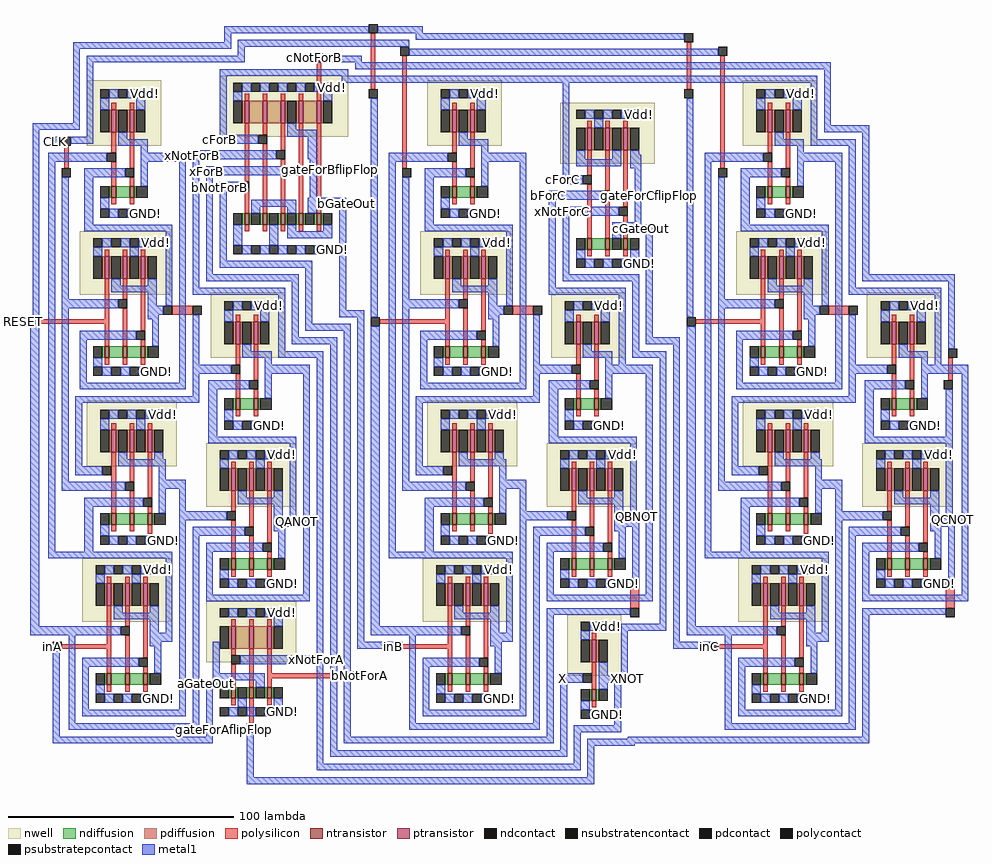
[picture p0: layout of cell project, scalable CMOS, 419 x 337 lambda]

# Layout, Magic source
magic
tech scmos
<< nwell >>
rect -221 247 -188 276
rect -162 251 -105 278
rect -70 247 -37 276
rect -11 239 31 266
rect 70 247 103 276
rect -224 181 -184 209
rect -166 153 -133 182
rect -73 181 -33 209
rect -13 181 18 182
rect 67 181 107 209
rect -15 153 18 181
rect 125 153 158 182
rect -221 105 -181 134
rect -168 87 -128 115
rect -70 105 -30 134
rect -17 87 23 115
rect 70 105 110 134
rect 123 87 163 115
rect -223 36 -183 64
rect -168 18 -128 45
rect -72 36 -32 64
rect -8 12 16 39
rect 68 36 108 64
<< ntransistor >>
rect -210 224 -208 229
rect -202 224 -200 229
rect -59 224 -57 229
rect -51 224 -49 229
rect -151 212 -149 217
rect -143 212 -141 217
rect -135 212 -133 217
rect -127 212 -125 217
rect -119 212 -117 217
rect 81 224 83 229
rect 89 224 91 229
rect 1 201 3 206
rect 9 201 11 206
rect 17 201 19 206
rect -213 153 -211 158
rect -205 153 -203 158
rect -197 153 -195 158
rect -62 153 -60 158
rect -54 153 -52 158
rect -46 153 -44 158
rect 78 153 80 158
rect 86 153 88 158
rect 94 153 96 158
rect -155 130 -153 135
rect -147 130 -145 135
rect -4 130 -2 135
rect 4 130 6 135
rect 136 130 138 135
rect 144 130 146 135
rect -210 79 -208 84
rect -202 79 -200 84
rect -194 79 -192 84
rect -59 79 -57 84
rect -51 79 -49 84
rect -43 79 -41 84
rect 81 79 83 84
rect 89 79 91 84
rect 97 79 99 84
rect -157 59 -155 64
rect -149 59 -147 64
rect -141 59 -139 64
rect -6 59 -4 64
rect 2 59 4 64
rect 10 59 12 64
rect 134 59 136 64
rect 142 59 144 64
rect 150 59 152 64
rect -212 8 -210 13
rect -204 8 -202 13
rect -196 8 -194 13
rect -61 8 -59 13
rect -53 8 -51 13
rect -45 8 -43 13
rect -157 2 -155 7
rect -149 2 -147 7
rect -141 2 -139 7
rect 79 8 81 13
rect 87 8 89 13
rect 95 8 97 13
rect 3 1 5 6
<< ptransistor >>
rect -210 253 -208 263
rect -202 253 -200 263
rect -151 257 -149 267
rect -143 257 -141 267
rect -135 257 -133 267
rect -127 257 -125 267
rect -119 257 -117 267
rect -59 253 -57 263
rect -51 253 -49 263
rect 1 245 3 255
rect 9 245 11 255
rect 17 245 19 255
rect 81 253 83 263
rect 89 253 91 263
rect -213 188 -211 198
rect -205 188 -203 198
rect -197 188 -195 198
rect -62 188 -60 198
rect -54 188 -52 198
rect -46 188 -44 198
rect 78 188 80 198
rect 86 188 88 198
rect 94 188 96 198
rect -155 159 -153 169
rect -147 159 -145 169
rect -4 159 -2 169
rect 4 159 6 169
rect 136 159 138 169
rect 144 159 146 169
rect -210 111 -208 121
rect -202 111 -200 121
rect -194 111 -192 121
rect -59 111 -57 121
rect -51 111 -49 121
rect -43 111 -41 121
rect -157 94 -155 104
rect -149 94 -147 104
rect -141 94 -139 104
rect 81 111 83 121
rect 89 111 91 121
rect 97 111 99 121
rect -6 94 -4 104
rect 2 94 4 104
rect 10 94 12 104
rect 134 94 136 104
rect 142 94 144 104
rect 150 94 152 104
rect -212 43 -210 53
rect -204 43 -202 53
rect -196 43 -194 53
rect -61 43 -59 53
rect -53 43 -51 53
rect -45 43 -43 53
rect -157 24 -155 34
rect -149 24 -147 34
rect -141 24 -139 34
rect 79 43 81 53
rect 87 43 89 53
rect 95 43 97 53
rect 3 18 5 28
<< ndiffusion >>
rect -211 224 -210 229
rect -208 224 -202 229
rect -200 224 -199 229
rect -60 224 -59 229
rect -57 224 -51 229
rect -49 224 -48 229
rect -152 212 -151 217
rect -149 212 -148 217
rect -144 212 -143 217
rect -141 212 -140 217
rect -136 212 -135 217
rect -133 212 -132 217
rect -128 212 -127 217
rect -125 212 -124 217
rect -120 212 -119 217
rect -117 212 -116 217
rect 80 224 81 229
rect 83 224 89 229
rect 91 224 92 229
rect 0 201 1 206
rect 3 201 9 206
rect 11 201 12 206
rect 16 201 17 206
rect 19 201 20 206
rect -214 153 -213 158
rect -211 153 -205 158
rect -203 153 -197 158
rect -195 153 -194 158
rect -63 153 -62 158
rect -60 153 -54 158
rect -52 153 -46 158
rect -44 153 -43 158
rect 77 153 78 158
rect 80 153 86 158
rect 88 153 94 158
rect 96 153 97 158
rect -156 130 -155 135
rect -153 130 -147 135
rect -145 130 -144 135
rect -5 130 -4 135
rect -2 130 4 135
rect 6 130 7 135
rect 135 130 136 135
rect 138 130 144 135
rect 146 130 147 135
rect -211 79 -210 84
rect -208 79 -202 84
rect -200 79 -194 84
rect -192 79 -191 84
rect -60 79 -59 84
rect -57 79 -51 84
rect -49 79 -43 84
rect -41 79 -40 84
rect 80 79 81 84
rect 83 79 89 84
rect 91 79 97 84
rect 99 79 100 84
rect -158 59 -157 64
rect -155 59 -149 64
rect -147 59 -141 64
rect -139 59 -138 64
rect -7 59 -6 64
rect -4 59 2 64
rect 4 59 10 64
rect 12 59 13 64
rect 133 59 134 64
rect 136 59 142 64
rect 144 59 150 64
rect 152 59 153 64
rect -213 8 -212 13
rect -210 8 -204 13
rect -202 8 -196 13
rect -194 8 -193 13
rect -62 8 -61 13
rect -59 8 -53 13
rect -51 8 -45 13
rect -43 8 -42 13
rect -158 2 -157 7
rect -155 2 -154 7
rect -150 2 -149 7
rect -147 2 -146 7
rect -142 2 -141 7
rect -139 2 -138 7
rect 78 8 79 13
rect 81 8 87 13
rect 89 8 95 13
rect 97 8 98 13
rect 2 1 3 6
rect 5 1 6 6
<< pdiffusion >>
rect -211 253 -210 263
rect -208 253 -207 263
rect -203 253 -202 263
rect -200 253 -199 263
rect -152 257 -151 267
rect -149 257 -143 267
rect -141 257 -135 267
rect -133 257 -132 267
rect -128 257 -127 267
rect -125 257 -119 267
rect -117 257 -116 267
rect -60 253 -59 263
rect -57 253 -56 263
rect -52 253 -51 263
rect -49 253 -48 263
rect 0 245 1 255
rect 3 245 4 255
rect 8 245 9 255
rect 11 245 12 255
rect 16 245 17 255
rect 19 245 20 255
rect 80 253 81 263
rect 83 253 84 263
rect 88 253 89 263
rect 91 253 92 263
rect -214 188 -213 198
rect -211 188 -210 198
rect -206 188 -205 198
rect -203 188 -202 198
rect -198 188 -197 198
rect -195 188 -194 198
rect -63 188 -62 198
rect -60 188 -59 198
rect -55 188 -54 198
rect -52 188 -51 198
rect -47 188 -46 198
rect -44 188 -43 198
rect 77 188 78 198
rect 80 188 81 198
rect 85 188 86 198
rect 88 188 89 198
rect 93 188 94 198
rect 96 188 97 198
rect -156 159 -155 169
rect -153 159 -152 169
rect -148 159 -147 169
rect -145 159 -144 169
rect -5 159 -4 169
rect -2 159 -1 169
rect 3 159 4 169
rect 6 159 7 169
rect 135 159 136 169
rect 138 159 139 169
rect 143 159 144 169
rect 146 159 147 169
rect -211 111 -210 121
rect -208 111 -207 121
rect -203 111 -202 121
rect -200 111 -199 121
rect -195 111 -194 121
rect -192 111 -191 121
rect -60 111 -59 121
rect -57 111 -56 121
rect -52 111 -51 121
rect -49 111 -48 121
rect -44 111 -43 121
rect -41 111 -40 121
rect -158 94 -157 104
rect -155 94 -154 104
rect -150 94 -149 104
rect -147 94 -146 104
rect -142 94 -141 104
rect -139 94 -138 104
rect 80 111 81 121
rect 83 111 84 121
rect 88 111 89 121
rect 91 111 92 121
rect 96 111 97 121
rect 99 111 100 121
rect -7 94 -6 104
rect -4 94 -3 104
rect 1 94 2 104
rect 4 94 5 104
rect 9 94 10 104
rect 12 94 13 104
rect 133 94 134 104
rect 136 94 137 104
rect 141 94 142 104
rect 144 94 145 104
rect 149 94 150 104
rect 152 94 153 104
rect -213 43 -212 53
rect -210 43 -209 53
rect -205 43 -204 53
rect -202 43 -201 53
rect -197 43 -196 53
rect -194 43 -193 53
rect -62 43 -61 53
rect -59 43 -58 53
rect -54 43 -53 53
rect -51 43 -50 53
rect -46 43 -45 53
rect -43 43 -42 53
rect -158 24 -157 34
rect -155 24 -149 34
rect -147 24 -141 34
rect -139 24 -138 34
rect 78 43 79 53
rect 81 43 82 53
rect 86 43 87 53
rect 89 43 90 53
rect 94 43 95 53
rect 97 43 98 53
rect 2 18 3 28
rect 5 18 6 28
<< ndcontact >>
rect -215 224 -211 229
rect -199 224 -194 229
rect -64 224 -60 229
rect -48 224 -43 229
rect -156 212 -152 217
rect -148 212 -144 217
rect -140 212 -136 217
rect -132 212 -128 217
rect -124 212 -120 217
rect -116 212 -112 217
rect 76 224 80 229
rect 92 224 97 229
rect -4 201 0 206
rect 12 201 16 206
rect 20 201 24 206
rect -218 153 -214 158
rect -194 153 -189 158
rect -67 153 -63 158
rect -43 153 -38 158
rect 73 153 77 158
rect 97 153 102 158
rect -160 130 -156 135
rect -144 130 -139 135
rect -9 130 -5 135
rect 7 130 12 135
rect 131 130 135 135
rect 147 130 152 135
rect -215 79 -211 84
rect -191 79 -186 84
rect -64 79 -60 84
rect -40 79 -35 84
rect 76 79 80 84
rect 100 79 105 84
rect -162 59 -158 64
rect -138 59 -133 64
rect -11 59 -7 64
rect 13 59 18 64
rect 129 59 133 64
rect 153 59 158 64
rect -217 8 -213 13
rect -193 8 -188 13
rect -66 8 -62 13
rect -42 8 -37 13
rect -162 2 -158 7
rect -154 2 -150 7
rect -146 2 -142 7
rect -138 2 -134 7
rect 74 8 78 13
rect 98 8 103 13
rect -2 1 2 6
rect 6 1 10 6
<< pdcontact >>
rect -215 253 -211 263
rect -207 253 -203 263
rect -199 253 -195 263
rect -156 257 -152 267
rect -132 257 -128 267
rect -116 257 -112 267
rect -64 253 -60 263
rect -56 253 -52 263
rect -48 253 -44 263
rect -4 245 0 255
rect 4 245 8 255
rect 12 245 16 255
rect 20 245 24 255
rect 76 253 80 263
rect 84 253 88 263
rect 92 253 96 263
rect -218 188 -214 198
rect -210 188 -206 198
rect -202 188 -198 198
rect -194 188 -190 198
rect -67 188 -63 198
rect -59 188 -55 198
rect -51 188 -47 198
rect -43 188 -39 198
rect 73 188 77 198
rect 81 188 85 198
rect 89 188 93 198
rect 97 188 101 198
rect -160 159 -156 169
rect -152 159 -148 169
rect -144 159 -140 169
rect -9 159 -5 169
rect -1 159 3 169
rect 7 159 11 169
rect 131 159 135 169
rect 139 159 143 169
rect 147 159 151 169
rect -215 111 -211 121
rect -207 111 -203 121
rect -199 111 -195 121
rect -191 111 -187 121
rect -64 111 -60 121
rect -56 111 -52 121
rect -48 111 -44 121
rect -40 111 -36 121
rect -162 94 -158 104
rect -154 94 -150 104
rect -146 94 -142 104
rect -138 94 -134 104
rect 76 111 80 121
rect 84 111 88 121
rect 92 111 96 121
rect 100 111 104 121
rect -11 94 -7 104
rect -3 94 1 104
rect 5 94 9 104
rect 13 94 17 104
rect 129 94 133 104
rect 137 94 141 104
rect 145 94 149 104
rect 153 94 157 104
rect -217 43 -213 53
rect -209 43 -205 53
rect -201 43 -197 53
rect -193 43 -189 53
rect -66 43 -62 53
rect -58 43 -54 53
rect -50 43 -46 53
rect -42 43 -38 53
rect -162 24 -158 34
rect -138 24 -134 34
rect 74 43 78 53
rect 82 43 86 53
rect 90 43 94 53
rect 98 43 102 53
rect -2 18 2 28
rect 6 18 10 28
<< psubstratepcontact >>
rect -215 215 -211 219
rect -207 215 -203 219
rect -199 215 -195 219
rect -64 215 -60 219
rect -56 215 -52 219
rect -48 215 -44 219
rect 76 215 80 219
rect 84 215 88 219
rect 92 215 96 219
rect -4 193 0 197
rect 4 193 8 197
rect 12 193 16 197
rect 20 193 24 197
rect -218 145 -214 149
rect -210 145 -206 149
rect -202 145 -198 149
rect -194 145 -190 149
rect -67 145 -63 149
rect -59 145 -55 149
rect -51 145 -47 149
rect -43 145 -39 149
rect 73 145 77 149
rect 81 145 85 149
rect 89 145 93 149
rect 97 145 101 149
rect -160 121 -156 125
rect -152 121 -148 125
rect -144 121 -140 125
rect -9 121 -5 125
rect -1 121 3 125
rect 7 121 11 125
rect 131 121 135 125
rect 139 121 143 125
rect 147 121 151 125
rect -215 70 -211 74
rect -207 70 -203 74
rect -199 70 -195 74
rect -191 70 -187 74
rect -64 70 -60 74
rect -56 70 -52 74
rect -48 70 -44 74
rect -40 70 -36 74
rect 76 70 80 74
rect 84 70 88 74
rect 92 70 96 74
rect 100 70 104 74
rect -162 51 -158 55
rect -154 51 -150 55
rect -146 51 -142 55
rect -138 51 -134 55
rect -11 51 -7 55
rect -3 51 1 55
rect 5 51 9 55
rect 13 51 17 55
rect 129 51 133 55
rect 137 51 141 55
rect 145 51 149 55
rect 153 51 157 55
rect -217 0 -213 4
rect -209 0 -205 4
rect -201 0 -197 4
rect -193 0 -189 4
rect -162 -6 -158 -2
rect -154 -6 -150 -2
rect -66 0 -62 4
rect -58 0 -54 4
rect -50 0 -46 4
rect -42 0 -38 4
rect 74 0 78 4
rect 82 0 86 4
rect 90 0 94 4
rect 98 0 102 4
rect -146 -6 -142 -2
rect -138 -6 -134 -2
rect -2 -7 2 -3
rect 6 -7 10 -3
<< nsubstratencontact >>
rect -215 268 -211 272
rect -207 268 -203 272
rect -199 268 -195 272
rect -156 271 -152 275
rect -148 271 -144 275
rect -140 271 -136 275
rect -132 271 -128 275
rect -124 271 -120 275
rect -116 271 -112 275
rect -64 268 -60 272
rect -56 268 -52 272
rect -48 268 -44 272
rect -4 259 0 263
rect 4 259 8 263
rect 12 259 16 263
rect 20 259 24 263
rect 76 268 80 272
rect 84 268 88 272
rect 92 268 96 272
rect -218 202 -214 206
rect -210 202 -206 206
rect -202 202 -198 206
rect -194 202 -190 206
rect -156 199 -152 203
rect -148 199 -144 203
rect -140 199 -136 203
rect -132 199 -128 203
rect -124 199 -120 203
rect -116 199 -112 203
rect -67 202 -63 206
rect -59 202 -55 206
rect -51 202 -47 206
rect -43 202 -39 206
rect 73 202 77 206
rect 81 202 85 206
rect 89 202 93 206
rect 97 202 101 206
rect -160 174 -156 178
rect -152 174 -148 178
rect -144 174 -140 178
rect -9 174 -5 178
rect -1 174 3 178
rect 7 174 11 178
rect 131 174 135 178
rect 139 174 143 178
rect 147 174 151 178
rect -215 126 -211 130
rect -207 126 -203 130
rect -199 126 -195 130
rect -191 126 -187 130
rect -64 126 -60 130
rect -56 126 -52 130
rect -48 126 -44 130
rect -40 126 -36 130
rect 76 126 80 130
rect 84 126 88 130
rect 92 126 96 130
rect 100 126 104 130
rect -162 108 -158 112
rect -154 108 -150 112
rect -146 108 -142 112
rect -138 108 -134 112
rect -11 108 -7 112
rect -3 108 1 112
rect 5 108 9 112
rect 13 108 17 112
rect 129 108 133 112
rect 137 108 141 112
rect 145 108 149 112
rect 153 108 157 112
rect -217 57 -213 61
rect -209 57 -205 61
rect -201 57 -197 61
rect -193 57 -189 61
rect -66 57 -62 61
rect -58 57 -54 61
rect -50 57 -46 61
rect -42 57 -38 61
rect 74 57 78 61
rect 82 57 86 61
rect 90 57 94 61
rect 98 57 102 61
rect -162 38 -158 42
rect -154 38 -150 42
rect -146 38 -142 42
rect -138 38 -134 42
rect -2 32 2 36
rect 6 32 10 36
<< polysilicon >>
rect -151 267 -149 270
rect -143 267 -141 270
rect -135 267 -133 270
rect -127 267 -125 270
rect -119 267 -117 284
rect -95 272 -93 297
rect -210 263 -208 266
rect -202 263 -200 266
rect -231 237 -229 247
rect -210 244 -208 253
rect -210 229 -208 240
rect -202 237 -200 253
rect -202 229 -200 233
rect -151 231 -149 257
rect -143 252 -141 257
rect -210 221 -208 224
rect -202 221 -200 224
rect -151 217 -149 227
rect -143 217 -141 248
rect -135 245 -133 257
rect -135 217 -133 241
rect -127 238 -125 257
rect -127 217 -125 234
rect -119 217 -117 257
rect -81 237 -79 287
rect 45 272 47 293
rect -59 263 -57 266
rect -51 263 -49 266
rect 1 255 3 258
rect 9 255 11 258
rect 17 255 19 258
rect -59 244 -57 253
rect -59 229 -57 240
rect -51 237 -49 253
rect 1 234 3 245
rect -51 229 -49 233
rect -59 221 -57 224
rect -51 221 -49 224
rect -151 209 -149 212
rect -143 209 -141 212
rect -135 209 -133 212
rect -127 209 -125 212
rect -119 209 -117 212
rect 1 206 3 230
rect 9 227 11 245
rect 9 206 11 223
rect 17 220 19 245
rect 60 237 62 287
rect 81 263 83 266
rect 89 263 91 266
rect 81 244 83 253
rect 81 229 83 240
rect 89 237 91 253
rect 89 229 91 233
rect 81 221 83 224
rect 89 221 91 224
rect 17 206 19 216
rect -213 198 -211 201
rect -205 198 -203 201
rect -197 198 -195 201
rect -62 198 -60 201
rect -54 198 -52 201
rect -46 198 -44 201
rect 1 198 3 201
rect 9 198 11 201
rect 17 198 19 201
rect 78 198 80 201
rect 86 198 88 201
rect 94 198 96 201
rect -213 170 -211 188
rect -205 179 -203 188
rect -242 168 -211 170
rect -213 158 -211 168
rect -205 158 -203 175
rect -197 165 -195 188
rect -183 172 -174 176
rect -155 169 -153 172
rect -147 169 -145 172
rect -197 158 -195 161
rect -62 170 -60 188
rect -54 179 -52 188
rect -91 168 -60 170
rect -213 150 -211 153
rect -205 150 -203 153
rect -197 150 -195 153
rect -155 150 -153 159
rect -155 135 -153 146
rect -147 143 -145 159
rect -62 158 -60 168
rect -54 158 -52 175
rect -46 165 -44 188
rect -32 172 -23 176
rect -4 169 -2 172
rect 4 169 6 172
rect -46 158 -44 161
rect 78 170 80 188
rect 86 179 88 188
rect 49 168 80 170
rect -62 150 -60 153
rect -54 150 -52 153
rect -46 150 -44 153
rect -4 150 -2 159
rect -147 135 -145 139
rect -4 135 -2 146
rect 4 143 6 159
rect 78 158 80 168
rect 86 158 88 175
rect 94 165 96 188
rect 108 172 117 176
rect 136 169 138 172
rect 144 169 146 172
rect 94 158 96 161
rect 78 150 80 153
rect 86 150 88 153
rect 94 150 96 153
rect 136 150 138 159
rect 4 135 6 139
rect 136 135 138 146
rect 144 143 146 159
rect 161 143 163 153
rect 144 135 146 139
rect -155 127 -153 130
rect -147 127 -145 130
rect -4 127 -2 130
rect 4 127 6 130
rect 136 127 138 130
rect 144 127 146 130
rect -210 121 -208 124
rect -202 121 -200 124
rect -194 121 -192 124
rect -59 121 -57 124
rect -51 121 -49 124
rect -43 121 -41 124
rect 81 121 83 124
rect 89 121 91 124
rect 97 121 99 124
rect -210 84 -208 111
rect -202 98 -200 111
rect -202 84 -200 94
rect -194 91 -192 111
rect -157 104 -155 107
rect -149 104 -147 107
rect -141 104 -139 107
rect -194 84 -192 87
rect -157 85 -155 94
rect -210 76 -208 79
rect -202 76 -200 79
rect -194 75 -192 79
rect -157 64 -155 81
rect -149 78 -147 94
rect -149 64 -147 74
rect -141 71 -139 94
rect -59 84 -57 111
rect -51 98 -49 111
rect -51 84 -49 94
rect -43 91 -41 111
rect -6 104 -4 107
rect 2 104 4 107
rect 10 104 12 107
rect -43 84 -41 87
rect -6 85 -4 94
rect -59 76 -57 79
rect -51 76 -49 79
rect -43 75 -41 79
rect -141 64 -139 67
rect -6 64 -4 81
rect 2 78 4 94
rect 2 64 4 74
rect 10 71 12 94
rect 81 84 83 111
rect 89 98 91 111
rect 89 84 91 94
rect 97 91 99 111
rect 134 104 136 107
rect 142 104 144 107
rect 150 104 152 107
rect 97 84 99 87
rect 134 85 136 94
rect 81 76 83 79
rect 89 76 91 79
rect 97 75 99 79
rect 10 64 12 67
rect 134 64 136 81
rect 142 78 144 94
rect 142 64 144 74
rect 150 71 152 94
rect 150 64 152 67
rect -157 56 -155 59
rect -149 56 -147 59
rect -141 56 -139 59
rect -6 56 -4 59
rect 2 56 4 59
rect 10 56 12 59
rect 134 56 136 59
rect 142 56 144 59
rect 150 56 152 59
rect -212 53 -210 56
rect -204 53 -202 56
rect -196 53 -194 56
rect -61 53 -59 56
rect -53 53 -51 56
rect -45 53 -43 56
rect 79 53 81 56
rect 87 53 89 56
rect 95 53 97 56
rect -212 26 -210 43
rect -204 34 -202 43
rect -232 24 -210 26
rect -212 13 -210 24
rect -204 13 -202 30
rect -196 20 -194 43
rect -157 34 -155 37
rect -149 34 -147 37
rect -141 34 -139 37
rect -196 13 -194 16
rect -157 21 -155 24
rect -212 5 -210 8
rect -204 5 -202 8
rect -196 5 -194 8
rect -157 7 -155 17
rect -149 7 -147 24
rect -141 13 -139 24
rect -61 26 -59 43
rect -53 34 -51 43
rect -81 24 -59 26
rect -141 11 -104 13
rect -141 7 -139 11
rect -61 13 -59 24
rect -53 13 -51 30
rect -45 20 -43 43
rect 20 42 24 51
rect 3 28 5 31
rect 79 26 81 43
rect 87 34 89 43
rect 59 24 81 26
rect -45 13 -43 16
rect -61 5 -59 8
rect -53 5 -51 8
rect -45 5 -43 8
rect 3 6 5 18
rect 79 13 81 24
rect 87 13 89 30
rect 95 20 97 43
rect 160 42 164 51
rect 95 13 97 16
rect -157 -1 -155 2
rect -149 -9 -147 2
rect -141 -1 -139 2
rect 79 5 81 8
rect 87 5 89 8
rect 95 5 97 8
rect 3 -2 5 1
<< polycontact >>
rect -96 297 -92 301
rect -120 284 -116 288
rect 44 293 48 297
rect -82 287 -78 291
rect -96 268 -92 272
rect -232 247 -228 251
rect -212 240 -208 244
rect -232 233 -228 237
rect -204 233 -200 237
rect -145 248 -141 252
rect -153 227 -149 231
rect -137 241 -133 245
rect -129 234 -125 238
rect 59 287 63 291
rect 44 268 48 272
rect -61 240 -57 244
rect -81 233 -77 237
rect -53 233 -49 237
rect -1 230 3 234
rect 7 223 11 227
rect 79 240 83 244
rect 59 233 63 237
rect 87 233 91 237
rect 15 216 19 220
rect -246 167 -242 171
rect -207 175 -203 179
rect -187 172 -183 176
rect -174 172 -170 176
rect -199 161 -195 165
rect -95 167 -91 171
rect -56 175 -52 179
rect -157 146 -153 150
rect -36 172 -32 176
rect -23 172 -19 176
rect -48 161 -44 165
rect 45 167 49 171
rect 84 175 88 179
rect -6 146 -2 150
rect -149 139 -145 143
rect 104 172 108 176
rect 117 172 121 176
rect 92 161 96 165
rect 134 146 138 150
rect 2 139 6 143
rect 161 153 165 157
rect 142 139 146 143
rect 159 139 163 143
rect -214 101 -210 105
rect -204 94 -200 98
rect -63 101 -59 105
rect -196 87 -192 91
rect -159 81 -155 85
rect -151 74 -147 78
rect -53 94 -49 98
rect 77 101 81 105
rect -45 87 -41 91
rect -8 81 -4 85
rect -143 67 -139 71
rect 0 74 4 78
rect 87 94 91 98
rect 95 87 99 91
rect 132 81 136 85
rect 8 67 12 71
rect 140 74 144 78
rect 148 67 152 71
rect 20 51 24 55
rect -236 23 -232 27
rect -206 30 -202 34
rect -198 16 -194 20
rect -157 17 -153 21
rect -85 23 -81 27
rect -55 30 -51 34
rect -104 10 -100 14
rect 160 51 164 55
rect 20 38 24 42
rect -47 16 -43 20
rect 55 23 59 27
rect 85 30 89 34
rect -1 9 3 13
rect 160 38 164 42
rect 93 16 97 20
rect -150 -13 -146 -9
<< metal1 >>
rect -160 297 -96 300
rect -92 297 -72 300
rect -160 293 -157 297
rect -75 294 44 297
rect -227 290 -157 293
rect -154 291 -78 294
rect -227 257 -224 290
rect -154 287 -151 291
rect -245 254 -224 257
rect -221 284 -151 287
rect -78 287 59 290
rect -116 284 -99 287
rect -245 171 -242 254
rect -221 251 -218 284
rect -102 281 109 284
rect -162 278 -105 281
rect -211 268 -207 272
rect -203 268 -199 272
rect -215 263 -211 268
rect -199 263 -195 268
rect -235 247 -232 251
rect -228 248 -218 251
rect -207 250 -203 253
rect -162 252 -159 278
rect -108 275 103 278
rect -152 271 -148 275
rect -144 271 -140 275
rect -136 271 -132 275
rect -128 271 -124 275
rect -120 271 -116 275
rect -156 267 -152 271
rect -116 267 -112 271
rect -132 254 -128 257
rect -207 247 -194 250
rect -162 248 -145 252
rect -132 251 -119 254
rect -197 244 -194 247
rect -249 167 -246 171
rect -246 34 -242 167
rect -238 240 -212 244
rect -197 240 -177 244
rect -238 67 -235 240
rect -222 233 -204 237
rect -232 179 -229 233
rect -222 212 -218 233
rect -197 229 -194 240
rect -215 219 -211 224
rect -211 215 -207 219
rect -203 215 -199 219
rect -222 209 -183 212
rect -214 202 -210 206
rect -206 202 -202 206
rect -198 202 -194 206
rect -218 198 -214 202
rect -202 198 -198 202
rect -210 185 -206 188
rect -194 185 -190 188
rect -210 182 -190 185
rect -232 175 -207 179
rect -194 176 -190 182
rect -186 176 -183 209
rect -232 98 -229 175
rect -194 172 -187 176
rect -194 170 -189 172
rect -224 161 -199 165
rect -224 142 -221 161
rect -192 158 -189 170
rect -218 149 -214 153
rect -214 145 -210 149
rect -206 145 -202 149
rect -198 145 -194 149
rect -180 142 -177 240
rect -174 241 -137 245
rect -123 241 -119 251
rect -174 184 -171 241
rect -168 234 -129 238
rect -168 190 -165 234
rect -162 227 -153 231
rect -162 196 -159 227
rect -122 224 -119 241
rect -148 220 -128 223
rect -148 217 -144 220
rect -132 217 -128 220
rect -123 220 -106 224
rect -123 217 -119 220
rect -156 203 -152 212
rect -140 203 -136 212
rect -132 209 -128 212
rect -116 209 -112 212
rect -132 206 -112 209
rect -152 199 -148 203
rect -144 199 -140 203
rect -136 199 -132 203
rect -128 199 -124 203
rect -120 199 -116 203
rect -162 193 -121 196
rect -168 187 -127 190
rect -174 181 -133 184
rect -224 139 -177 142
rect -156 174 -152 178
rect -148 174 -144 178
rect -174 150 -171 172
rect -160 169 -156 174
rect -144 169 -140 174
rect -152 156 -148 159
rect -136 156 -133 181
rect -130 162 -127 187
rect -124 168 -121 193
rect -109 174 -106 220
rect -109 171 -98 174
rect -124 165 -104 168
rect -130 159 -110 162
rect -152 153 -139 156
rect -136 153 -116 156
rect -142 150 -139 153
rect -174 146 -157 150
rect -142 146 -122 150
rect -174 136 -171 146
rect -226 133 -171 136
rect -167 139 -149 143
rect -226 105 -223 133
rect -211 126 -207 130
rect -203 126 -199 130
rect -195 126 -191 130
rect -215 121 -211 126
rect -199 121 -195 126
rect -167 118 -163 139
rect -142 135 -139 146
rect -160 125 -156 130
rect -156 121 -152 125
rect -148 121 -144 125
rect -167 115 -128 118
rect -207 108 -203 111
rect -191 108 -187 111
rect -158 108 -154 112
rect -150 108 -146 112
rect -142 108 -138 112
rect -207 105 -186 108
rect -226 101 -214 105
rect -189 99 -186 105
rect -162 104 -158 108
rect -146 104 -142 108
rect -232 94 -204 98
rect -189 95 -177 99
rect -222 87 -196 91
rect -222 67 -218 87
rect -189 84 -186 95
rect -180 85 -177 95
rect -154 91 -150 94
rect -138 91 -134 94
rect -154 88 -134 91
rect -180 81 -159 85
rect -138 82 -134 88
rect -131 82 -128 115
rect -215 74 -211 79
rect -211 70 -207 74
rect -203 70 -199 74
rect -195 70 -191 74
rect -238 64 -183 67
rect -213 57 -209 61
rect -205 57 -201 61
rect -197 57 -193 61
rect -217 53 -213 57
rect -201 53 -197 57
rect -209 40 -205 43
rect -193 40 -189 43
rect -209 37 -189 40
rect -246 30 -206 34
rect -193 31 -189 37
rect -186 31 -183 64
rect -236 -15 -233 23
rect -229 -9 -226 30
rect -193 27 -183 31
rect -193 25 -188 27
rect -223 16 -198 20
rect -223 -3 -220 16
rect -191 13 -188 25
rect -217 4 -213 8
rect -213 0 -209 4
rect -205 0 -201 4
rect -197 0 -193 4
rect -180 -3 -177 81
rect -138 78 -128 82
rect -223 -6 -177 -3
rect -174 74 -151 78
rect -138 76 -133 78
rect -174 -9 -171 74
rect -168 67 -143 71
rect -168 48 -165 67
rect -136 64 -133 76
rect -162 55 -158 59
rect -158 51 -154 55
rect -150 51 -146 55
rect -142 51 -138 55
rect -125 48 -122 146
rect -168 45 -122 48
rect -158 38 -154 42
rect -150 38 -146 42
rect -142 38 -138 42
rect -138 34 -134 38
rect -165 13 -162 27
rect -119 21 -116 153
rect -153 17 -116 21
rect -165 10 -142 13
rect -229 -12 -171 -9
rect -168 7 -158 10
rect -146 7 -142 10
rect -168 -15 -165 7
rect -154 -2 -150 2
rect -138 -2 -134 2
rect -158 -6 -154 -2
rect -150 -6 -146 -2
rect -142 -6 -138 -2
rect -236 -18 -165 -15
rect -150 -33 -147 -13
rect -119 -27 -116 17
rect -113 -21 -110 159
rect -107 -15 -104 165
rect -101 27 -98 171
rect -95 171 -92 268
rect -60 268 -56 272
rect -52 268 -48 272
rect -64 263 -60 268
rect -48 263 -44 268
rect -56 250 -52 253
rect -56 247 -43 250
rect -46 244 -43 247
rect -87 240 -61 244
rect -46 240 -26 244
rect -95 34 -91 167
rect -87 67 -84 240
rect -71 233 -53 237
rect -81 179 -78 233
rect -71 212 -67 233
rect -46 229 -43 240
rect -64 219 -60 224
rect -60 215 -56 219
rect -52 215 -48 219
rect -71 209 -32 212
rect -63 202 -59 206
rect -55 202 -51 206
rect -47 202 -43 206
rect -67 198 -63 202
rect -51 198 -47 202
rect -59 185 -55 188
rect -43 185 -39 188
rect -59 182 -39 185
rect -81 175 -56 179
rect -43 176 -39 182
rect -35 176 -32 209
rect -81 98 -78 175
rect -43 172 -36 176
rect -43 170 -38 172
rect -73 161 -48 165
rect -73 142 -70 161
rect -41 158 -38 170
rect -67 149 -63 153
rect -63 145 -59 149
rect -55 145 -51 149
rect -47 145 -43 149
rect -29 142 -26 240
rect -10 234 -7 275
rect 0 259 4 263
rect 8 259 12 263
rect 16 259 20 263
rect 4 255 8 259
rect -4 241 0 245
rect 12 241 16 245
rect -4 238 16 241
rect 20 243 24 245
rect 20 237 25 243
rect -10 230 -1 234
rect -16 223 7 227
rect -16 184 -13 223
rect -10 216 15 220
rect -10 190 -7 216
rect 22 213 25 237
rect 12 212 25 213
rect 12 209 30 212
rect 12 206 16 209
rect -4 197 0 201
rect 20 197 24 201
rect 0 193 4 197
rect 8 193 12 197
rect 16 193 20 197
rect -10 187 24 190
rect -16 181 18 184
rect -73 139 -26 142
rect -5 174 -1 178
rect 3 174 7 178
rect -23 150 -20 172
rect -9 169 -5 174
rect 7 169 11 174
rect -1 156 3 159
rect -1 153 12 156
rect 9 150 12 153
rect 15 150 18 181
rect 21 156 24 187
rect 27 162 30 209
rect 45 171 48 268
rect 80 268 84 272
rect 88 268 92 272
rect 76 263 80 268
rect 92 263 96 268
rect 84 250 88 253
rect 100 250 103 275
rect 106 256 109 281
rect 106 253 126 256
rect 84 247 97 250
rect 100 247 120 250
rect 94 244 97 247
rect 53 240 79 244
rect 94 240 114 244
rect 27 159 42 162
rect 21 153 36 156
rect -23 146 -6 150
rect 9 146 30 150
rect -23 136 -20 146
rect -75 133 -20 136
rect -16 139 2 143
rect -75 105 -72 133
rect -60 126 -56 130
rect -52 126 -48 130
rect -44 126 -40 130
rect -64 121 -60 126
rect -48 121 -44 126
rect -16 118 -12 139
rect 9 135 12 146
rect -9 125 -5 130
rect -5 121 -1 125
rect 3 121 7 125
rect -16 115 23 118
rect -56 108 -52 111
rect -40 108 -36 111
rect -7 108 -3 112
rect 1 108 5 112
rect 9 108 13 112
rect -56 105 -35 108
rect -75 101 -63 105
rect -38 99 -35 105
rect -11 104 -7 108
rect 5 104 9 108
rect -81 94 -53 98
rect -38 95 -26 99
rect -71 87 -45 91
rect -71 67 -67 87
rect -38 84 -35 95
rect -29 85 -26 95
rect -3 91 1 94
rect 13 91 17 94
rect -3 88 17 91
rect -29 81 -8 85
rect 13 82 17 88
rect 20 82 23 115
rect 13 81 23 82
rect -64 74 -60 79
rect -60 70 -56 74
rect -52 70 -48 74
rect -44 70 -40 74
rect -87 64 -32 67
rect -62 57 -58 61
rect -54 57 -50 61
rect -46 57 -42 61
rect -66 53 -62 57
rect -50 53 -46 57
rect -58 40 -54 43
rect -42 40 -38 43
rect -58 37 -38 40
rect -95 30 -55 34
rect -42 31 -38 37
rect -35 31 -32 64
rect -101 24 -85 27
rect -78 -9 -75 30
rect -42 27 -32 31
rect -42 25 -37 27
rect -72 16 -47 20
rect -72 -3 -69 16
rect -40 13 -37 25
rect -66 4 -62 8
rect -62 0 -58 4
rect -54 0 -50 4
rect -46 0 -42 4
rect -29 -3 -26 81
rect 13 78 24 81
rect -72 -6 -26 -3
rect -23 74 0 78
rect 13 76 18 78
rect -23 -9 -20 74
rect -17 67 8 71
rect -17 48 -14 67
rect 15 64 18 76
rect -11 55 -7 59
rect 21 55 24 78
rect -7 51 -3 55
rect 1 51 5 55
rect 9 51 13 55
rect 27 48 30 146
rect -17 45 30 48
rect -78 -12 -20 -9
rect -17 39 20 42
rect -17 -15 -14 39
rect 2 32 6 36
rect 33 35 36 153
rect 16 32 36 35
rect -2 28 2 32
rect -107 -18 -14 -15
rect -11 9 -1 13
rect 6 12 10 18
rect 16 12 19 32
rect 39 27 42 159
rect 45 34 49 167
rect 53 67 56 240
rect 69 233 87 237
rect 59 179 62 233
rect 69 212 73 233
rect 94 229 97 240
rect 76 219 80 224
rect 80 215 84 219
rect 88 215 92 219
rect 69 209 108 212
rect 77 202 81 206
rect 85 202 89 206
rect 93 202 97 206
rect 73 198 77 202
rect 89 198 93 202
rect 81 185 85 188
rect 97 185 101 188
rect 81 182 101 185
rect 59 175 84 179
rect 97 176 101 182
rect 105 176 108 209
rect 59 98 62 175
rect 97 172 104 176
rect 97 170 102 172
rect 67 161 92 165
rect 67 142 70 161
rect 99 158 102 170
rect 73 149 77 153
rect 77 145 81 149
rect 85 145 89 149
rect 93 145 97 149
rect 111 142 114 240
rect 117 184 120 247
rect 123 190 126 253
rect 123 187 164 190
rect 117 181 158 184
rect 67 139 114 142
rect 135 174 139 178
rect 143 174 147 178
rect 117 150 120 172
rect 131 169 135 174
rect 147 169 151 174
rect 139 156 143 159
rect 139 153 152 156
rect 149 150 152 153
rect 155 150 158 181
rect 161 157 164 187
rect 117 146 134 150
rect 149 146 170 150
rect 117 136 120 146
rect 65 133 120 136
rect 124 139 142 143
rect 65 105 68 133
rect 80 126 84 130
rect 88 126 92 130
rect 96 126 100 130
rect 76 121 80 126
rect 92 121 96 126
rect 124 118 128 139
rect 149 135 152 146
rect 131 125 135 130
rect 135 121 139 125
rect 143 121 147 125
rect 160 118 163 139
rect 124 115 163 118
rect 84 108 88 111
rect 100 108 104 111
rect 133 108 137 112
rect 141 108 145 112
rect 149 108 153 112
rect 84 105 105 108
rect 65 101 77 105
rect 102 99 105 105
rect 129 104 133 108
rect 145 104 149 108
rect 59 94 87 98
rect 102 95 114 99
rect 69 87 95 91
rect 69 67 73 87
rect 102 84 105 95
rect 111 85 114 95
rect 137 91 141 94
rect 153 91 157 94
rect 137 88 157 91
rect 111 81 132 85
rect 153 82 157 88
rect 160 82 163 115
rect 153 81 163 82
rect 76 74 80 79
rect 80 70 84 74
rect 88 70 92 74
rect 96 70 100 74
rect 53 64 108 67
rect 78 57 82 61
rect 86 57 90 61
rect 94 57 98 61
rect 74 53 78 57
rect 90 53 94 57
rect 82 40 86 43
rect 98 40 102 43
rect 82 37 102 40
rect 45 30 85 34
rect 98 31 102 37
rect 105 31 108 64
rect 39 24 55 27
rect 6 9 19 12
rect -11 -21 -8 9
rect 6 6 10 9
rect -2 -3 2 1
rect 2 -7 6 -3
rect 13 -10 16 9
rect -113 -24 -8 -21
rect -5 -13 16 -10
rect 62 -9 65 30
rect 98 27 108 31
rect 98 25 103 27
rect 68 16 93 20
rect 68 -3 71 16
rect 100 13 103 25
rect 74 4 78 8
rect 78 0 82 4
rect 86 0 90 4
rect 94 0 98 4
rect 111 -3 114 81
rect 153 78 164 81
rect 68 -6 114 -3
rect 117 74 140 78
rect 153 76 158 78
rect 117 -9 120 74
rect 123 67 148 71
rect 123 48 126 67
rect 155 64 158 76
rect 129 55 133 59
rect 161 55 164 78
rect 133 51 137 55
rect 141 51 145 55
rect 149 51 153 55
rect 167 48 170 146
rect 123 45 170 48
rect 62 -12 120 -9
rect 123 39 160 42
rect -5 -27 -2 -13
rect 123 -15 126 39
rect 19 -16 126 -15
rect -119 -30 -2 -27
rect 1 -18 126 -16
rect 1 -19 22 -18
rect 1 -33 4 -19
rect -150 -36 4 -33
<< labels >>
rlabel nsubstratencontact -36 126 -36 130 1 Vdd!
rlabel psubstratepcontact -36 70 -36 74 1 GND!
rlabel psubstratepcontact 11 121 11 125 1 GND!
rlabel nsubstratencontact 11 174 11 178 1 Vdd!
rlabel nsubstratencontact -44 268 -44 272 1 Vdd!
rlabel psubstratepcontact -44 215 -44 219 1 GND!
rlabel nsubstratencontact -39 202 -39 206 1 Vdd!
rlabel psubstratepcontact -39 145 -39 149 1 GND!
rlabel nsubstratencontact -38 57 -38 61 1 Vdd!
rlabel psubstratepcontact -38 0 -38 4 1 GND!
rlabel nsubstratencontact 17 108 17 112 1 Vdd!
rlabel psubstratepcontact 17 51 17 55 1 GND!
rlabel metal1 23 80 23 85 1 QBNOT
rlabel metal1 30 76 30 84 1 QB
rlabel psubstratepcontact 10 -7 10 -3 1 GND!
rlabel nsubstratencontact 10 32 10 36 1 Vdd!
rlabel metal1 -10 9 -10 13 1 X
rlabel metal1 19 9 19 13 1 XNOT
rlabel nsubstratencontact -187 126 -187 130 1 Vdd!
rlabel psubstratepcontact -187 70 -187 74 1 GND!
rlabel psubstratepcontact -140 121 -140 125 1 GND!
rlabel nsubstratencontact -140 174 -140 178 1 Vdd!
rlabel nsubstratencontact -195 268 -195 272 1 Vdd!
rlabel psubstratepcontact -195 215 -195 219 1 GND!
rlabel nsubstratencontact -190 202 -190 206 1 Vdd!
rlabel psubstratepcontact -190 145 -190 149 1 GND!
rlabel nsubstratencontact -189 57 -189 61 1 Vdd!
rlabel psubstratepcontact -189 0 -189 4 1 GND!
rlabel nsubstratencontact -134 108 -134 112 1 Vdd!
rlabel psubstratepcontact -134 51 -134 55 1 GND!
rlabel metal1 -128 78 -128 83 1 QANOT
rlabel metal1 -122 78 -122 83 1 QA
rlabel nsubstratencontact -112 271 -112 275 1 Vdd!
rlabel nsubstratencontact -112 199 -112 203 1 GND!
rlabel nsubstratencontact -134 38 -134 42 1 Vdd!
rlabel psubstratepcontact -134 -6 -134 -2 1 GND!
rlabel nsubstratencontact 24 259 24 263 1 Vdd!
rlabel psubstratepcontact 24 193 24 197 1 GND!
rlabel nsubstratencontact 104 126 104 130 1 Vdd!
rlabel psubstratepcontact 104 70 104 74 1 GND!
rlabel psubstratepcontact 151 121 151 125 1 GND!
rlabel nsubstratencontact 151 174 151 178 1 Vdd!
rlabel nsubstratencontact 96 268 96 272 1 Vdd!
rlabel psubstratepcontact 96 215 96 219 1 GND!
rlabel nsubstratencontact 101 202 101 206 1 Vdd!
rlabel psubstratepcontact 101 145 101 149 1 GND!
rlabel nsubstratencontact 102 57 102 61 1 Vdd!
rlabel psubstratepcontact 102 0 102 4 1 GND!
rlabel nsubstratencontact 157 108 157 112 1 Vdd!
rlabel psubstratepcontact 157 51 157 55 1 GND!
rlabel metal1 163 78 163 85 1 QCNOT
rlabel metal1 170 78 170 85 1 QC
rlabel metal1 -235 247 -235 251 1 CLK
rlabel metal1 -249 167 -249 171 3 RESET
rlabel polycontact -236 23 -236 27 1 inA
rlabel polycontact -85 23 -85 27 1 inB
rlabel polycontact 55 23 55 27 1 inC
rlabel space -160 -14 -160 -10 1 gateForAflipFlop
rlabel space -113 234 -113 239 1 gateForBflipFlop
rlabel space 28 222 29 228 1 gateForCflipFlop
rlabel metal1 -119 17 -119 21 1 xNotForA
rlabel polycontact -146 -13 -146 -9 1 cNotForA
rlabel polycontact -100 10 -100 14 1 bNotForA
rlabel metal1 -10 230 -10 234 1 cForC
rlabel metal1 -16 223 -16 227 1 bForC
rlabel metal1 -10 216 -10 220 1 xNotForC
rlabel metal1 25 209 25 212 1 cGateOut
rlabel metal1 -168 7 -168 10 1 aGateOut
rlabel metal1 -106 219 -106 224 1 bGateOut
rlabel metal1 -162 248 -162 252 1 cForB
rlabel metal1 -174 240 -174 245 1 xNotForB
rlabel metal1 -168 233 -168 238 1 xForB
rlabel metal1 -162 226 -162 231 1 bNotForB
rlabel polycontact -120 284 -120 288 1 cNotForB
<< end >>
